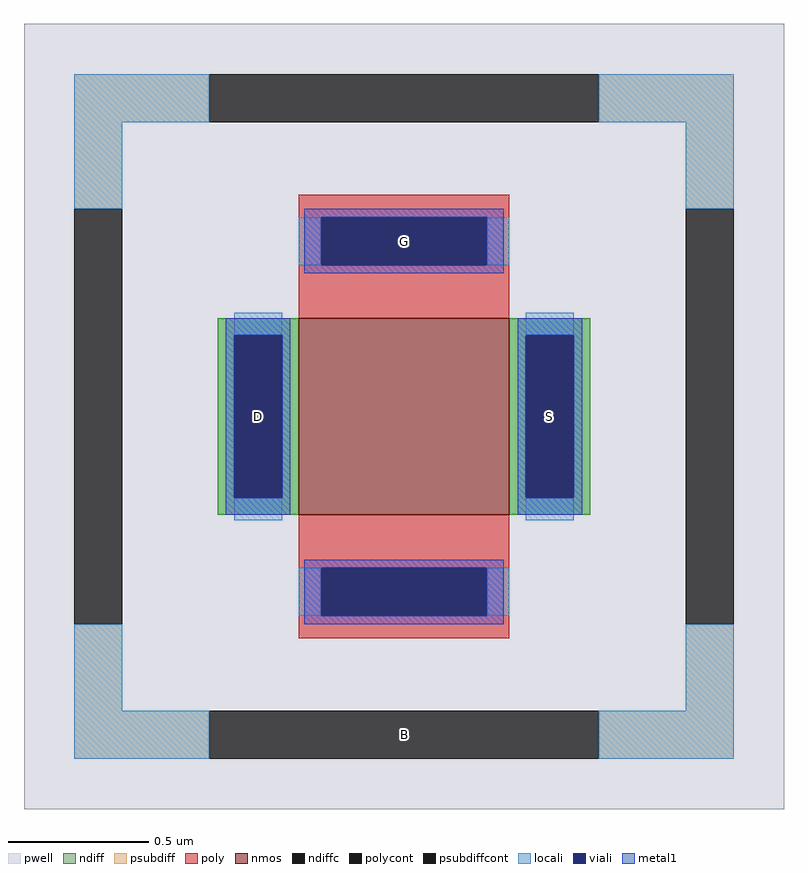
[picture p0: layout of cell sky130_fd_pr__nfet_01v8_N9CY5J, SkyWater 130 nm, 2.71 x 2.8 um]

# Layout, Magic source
magic
tech sky130A
magscale 1 2
<< pwell >>
rect -271 -280 271 280
<< nmos >>
rect -75 -70 75 70
<< ndiff >>
rect -133 58 -75 70
rect -133 -58 -121 58
rect -87 -58 -75 58
rect -133 -70 -75 -58
rect 75 58 133 70
rect 75 -58 87 58
rect 121 -58 133 58
rect 75 -70 133 -58
<< ndiffc >>
rect -121 -58 -87 58
rect 87 -58 121 58
<< psubdiff >>
rect -235 210 -139 244
rect 139 210 235 244
rect -235 148 -201 210
rect 201 148 235 210
rect -235 -210 -201 -148
rect 201 -210 235 -148
rect -235 -244 -139 -210
rect 139 -244 235 -210
<< psubdiffcont >>
rect -139 210 139 244
rect -235 -148 -201 148
rect 201 -148 235 148
rect -139 -244 139 -210
<< poly >>
rect -75 142 75 158
rect -75 108 -59 142
rect 59 108 75 142
rect -75 70 75 108
rect -75 -108 75 -70
rect -75 -142 -59 -108
rect 59 -142 75 -108
rect -75 -158 75 -142
<< polycont >>
rect -59 108 59 142
rect -59 -142 59 -108
<< locali >>
rect -235 210 -139 244
rect 139 210 235 244
rect -235 148 -201 210
rect 201 148 235 210
rect -75 108 -59 142
rect 59 108 75 142
rect -121 58 -87 74
rect -121 -74 -87 -58
rect 87 58 121 74
rect 87 -74 121 -58
rect -75 -142 -59 -108
rect 59 -142 75 -108
rect -235 -210 -201 -148
rect 201 -210 235 -148
rect -235 -244 -139 -210
rect 139 -244 235 -210
<< viali >>
rect -59 108 59 142
rect -121 -58 -87 58
rect 87 -58 121 58
rect -59 -142 59 -108
<< metal1 >>
rect -71 142 71 148
rect -71 108 -59 142
rect 59 108 71 142
rect -71 102 71 108
rect -127 58 -81 70
rect -127 -58 -121 58
rect -87 -58 -81 58
rect -127 -70 -81 -58
rect 81 58 127 70
rect 81 -58 87 58
rect 121 -58 127 58
rect 81 -70 127 -58
rect -71 -108 71 -102
rect -71 -142 -59 -108
rect 59 -142 71 -108
rect -71 -148 71 -142
<< labels >>
rlabel psubdiffcont 0 -227 0 -227 0 B
port 1 nsew
rlabel ndiffc -104 0 -104 0 0 D
port 2 nsew
rlabel ndiffc 104 0 104 0 0 S
port 3 nsew
rlabel polycont 0 125 0 125 0 G
port 4 nsew
<< properties >>
string FIXED_BBOX -218 -227 218 227
string gencell sky130_fd_pr__nfet_01v8
string library sky130
string parameters w 0.7 l 0.75 m 1 nf 1 diffcov 100 polycov 100 guard 1 glc 1 grc 1 gtc 1 gbc 1 tbcov 100 rlcov 100 topc 1 botc 1 poverlap 0 doverlap 1 lmin 0.15 wmin 0.42 class mosfet compatible {sky130_fd_pr__nfet_01v8 sky130_fd_pr__nfet_01v8_lvt  sky130_fd_bs_flash__special_sonosfet_star  sky130_fd_pr__nfet_g5v0d10v5 sky130_fd_pr__nfet_05v0_nvt  sky130_fd_pr__nfet_03v3_nvt} full_metal 1 viasrc 100 viadrn 100 viagate 100 viagb 0 viagr 0 viagl 0 viagt 0 doports 1
<< end >>
